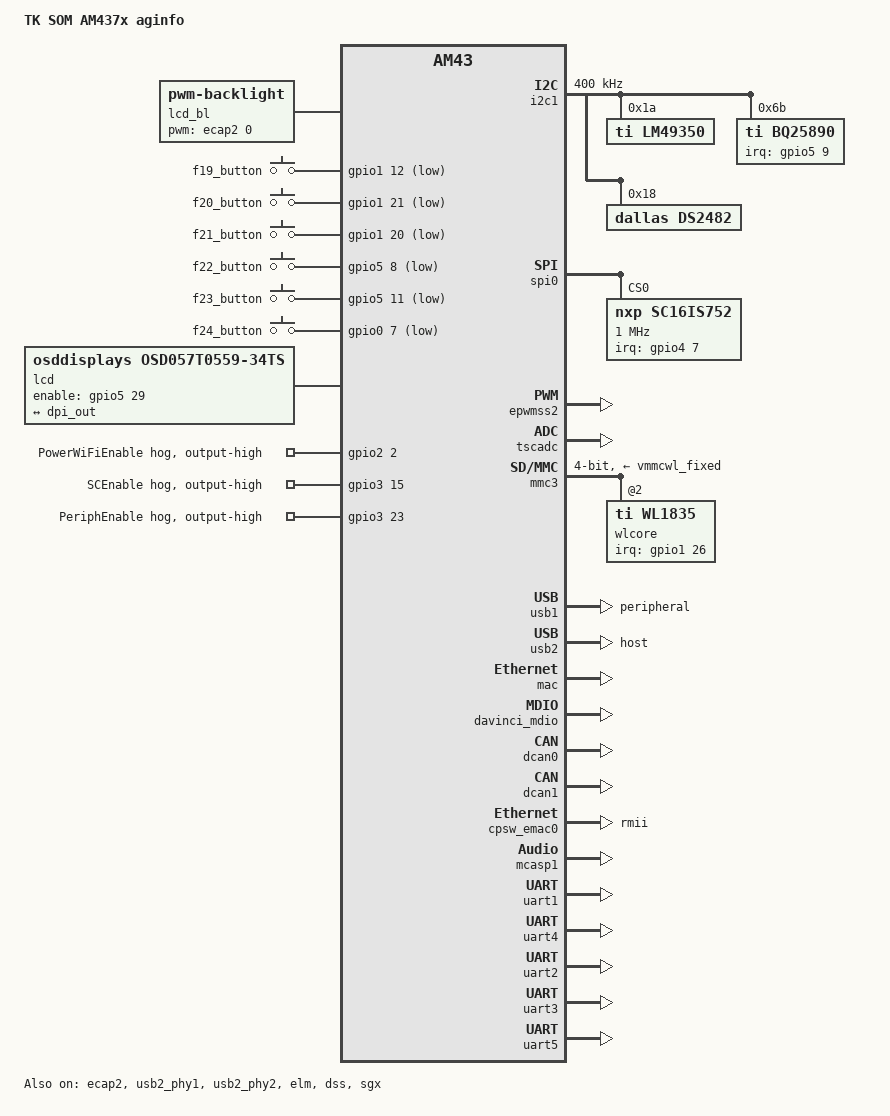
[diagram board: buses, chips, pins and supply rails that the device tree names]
/*
 * Copyright (C) 2013 Texas Instruments Incorporated - http://www.ti.com/
 *
 * This program is free software; you redistribute it and/or modify
 * it under the terms of the GNU General Public License version 2 as
 * published by the Free Software Foundation.
 */

/* AM437x GP EVM */

/dts-v1/;

#include "am4372.dtsi"
#include "tk-som-am43xx.dtsi"
#include <dt-bindings/pinctrl/am43xx.h>
#include <dt-bindings/pwm/pwm.h>
#include <dt-bindings/gpio/gpio.h>
#include <dt-bindings/input/input.h>

/ {

	model = "TK SOM AM437x aginfo";
	compatible = "technokom,aginfo","ti,am4378","ti,am43";

	aliases {
		display0 = &lcd0;
	};


	lcd_bl: backlight {
		compatible = "pwm-backlight";
		pwms = <&ecap2 0 50000 0>;
		brightness-levels = <0 10 20 30 40 50 60 70 80 90 100 124 155 186 217 255>;
		default-brightness-level = <15>;
	};

	gpio_keys: gpio_keys {
		compatible = "gpio-keys";
		pinctrl-names = "default";
		pinctrl-0 = <&gpio_keys_pins_default>;
		#address-cells = <1>;
		#size-cells = <0>;

		button@1 {
			label = "f19_button";
			linux,code = <KEY_1>;
			gpios = <&gpio1 12 GPIO_ACTIVE_LOW>;
		};

		button@2 {
			label = "f20_button";
			linux,code = <KEY_2>;
			gpios = <&gpio1 21 GPIO_ACTIVE_LOW>;
		};

		button@3 {
			label = "f21_button";
			linux,code = <KEY_3>;
			gpios = <&gpio1 20 GPIO_ACTIVE_LOW>;
		};

		button@4 {
			label = "f22_button";
			linux,code = <KEY_4>;
			gpios = <&gpio5 8 GPIO_ACTIVE_LOW>;
		};

		button@5 {
			label = "f23_button";
			linux,code = <KEY_5>;
			gpios = <&gpio5 11 GPIO_ACTIVE_LOW>;
		};

		button@6 {
			label = "f24_button";
			linux,code = <KEY_6>;
			gpios = <&gpio0 7 GPIO_ACTIVE_LOW>;
		};
	};

	lcd0: display {
		compatible = "osddisplays,osd057T0559-34ts", "panel-dpi";
		label = "lcd";
		
		pinctrl-names = "default";
		pinctrl-0 = <&dss_pin_enable>;
		enable-gpios = <&gpio5 29 GPIO_ACTIVE_HIGH>;

		panel-timing {
			clock-frequency = <33000000>;
			hactive = <800>;
			vactive = <480>;
			hfront-porch = <210>;
			hback-porch = <16>;
			hsync-len = <30>;
			vback-porch = <10>;
			vfront-porch = <22>;
			vsync-len = <13>;
			hsync-active = <0>;
			vsync-active = <0>;
			de-active = <1>;
			pixelclk-active = <1>;
		};

		port {
			lcd_in: endpoint {
				remote-endpoint = <&dpi_out>;
			};
		};
	};

	sound0: sound@0 {
		compatible = "simple-audio-card";
		simple-audio-card,name = "AM437x-TK";
		simple-audio-card,widgets =
			"Headphone", "Headphone Jack",
			"Line", "Line In",
			"Speaker", "Speaker";
		simple-audio-card,routing =
			"Headphone Jack", "HPLOUT",
			"Headphone Jack", "HPROUT",
			"LINE1L", "Line In",
			"LINE1R", "Line In",
			"Speaker", "SPL",
			"Speaker", "SPR";
		simple-audio-card,format = "dsp_b";
		simple-audio-card,bitclock-master = <&sound0_master>;
		simple-audio-card,frame-master = <&sound0_master>;
		simple-audio-card,bitclock-inversion;

		simple-audio-card,cpu {
			sound-dai = <&mcasp1>;
			system-clock-frequency = <12000000>;
		};

		sound0_master: simple-audio-card,codec {
			sound-dai = <&lm49350>;
			system-clock-frequency = <12000000>;
		};
	};

};

&am43xx_pinmux {
	pinctrl-names = "default", "sleep";
	pinctrl-0 = <&wlan_pins_default &clkout1_pin>;


	dcan0_default: dcan0_default_pins {
		pinctrl-single,pins = <
			AM4372_IOPAD(0x91c, PIN_OUTPUT | MUX_MODE1)		/* (C16) mii1_txd3.dcan0_tx */
			AM4372_IOPAD(0x920, PIN_INPUT_PULLUP | MUX_MODE1)	/* (C13) mii1_txd2.dcan0_rx */
		>;
	};

	dcan0_sleep: dcan0_sleep_pins {
		pinctrl-single,pins = <
			AM4372_IOPAD(0x91c, PIN_INPUT_PULLUP | MUX_MODE7)	/* (C16) mii1_txd3 */
			AM4372_IOPAD(0x920, PIN_INPUT_PULLUP | MUX_MODE7)	/* (C13) mii1_txd2 */
		>;
	};

	dcan1_default: dcan1_default_pins {
		pinctrl-single,pins = <
			AM4372_IOPAD(0x980, PIN_OUTPUT | MUX_MODE2)		/* uart1_rxd.d_can1_tx */
			AM4372_IOPAD(0x984, PIN_INPUT_PULLUP | MUX_MODE2)	/* uart1_txd.d_can1_rx */
		>;
	};

	dcan1_sleep: dcan1_sleep_pins {
		pinctrl-single,pins = <
			AM4372_IOPAD(0x980, PIN_INPUT_PULLUP | MUX_MODE7)	/* uart1_rxd.gpio0_14 */
			AM4372_IOPAD(0x984, PIN_INPUT_PULLUP | MUX_MODE7)	/* uart1_txd.gpio0_15 */
		>;
	};

    gpio_onewire_interrupt_pin: gpio_onewire_interrupt_pin {
		pinctrl-single,pins = <    
            AM4372_IOPAD(0xA34, PIN_INPUT_PULLUP | MUX_MODE7 ) /* (K24) uart3_rtsn.gpio5[1] */
        >;
    };


	gpio_keys_pins_default: gpio_keys_pins_default {
		pinctrl-single,pins = <
            AM4372_IOPAD(0x830, PIN_INPUT_PULLUP | MUX_MODE7 ) /* (E11) gpmc_ad12.gpio1[12] */
		    AM4372_IOPAD(0x850, PIN_INPUT_PULLUP | MUX_MODE7 ) /* (D7) gpmc_a4.gpio1[20] */
		    AM4372_IOPAD(0x854, PIN_INPUT_PULLUP | MUX_MODE7 ) /* (E7) gpmc_a5.gpio1[21] */
		    AM4372_IOPAD(0xa38, PIN_INPUT_PULLUP | MUX_MODE7 ) /* (D25) gpio5_8.gpio5[8] */
		    AM4372_IOPAD(0xa44, PIN_INPUT_PULLUP | MUX_MODE7 ) /* (F23) gpio5_11.gpio5[11] */
			AM4372_IOPAD(0x964, PIN_INPUT_PULLUP | MUX_MODE7 ) /* (G24) eCAP0_in_PWM0_out.gpio0[7] */
		>;
	};

    gpio0_input_pins_default: pinmux_gpio0_input_pins_default {
		pinctrl-single,pins = <
            AM4372_IOPAD(0x960, PIN_INPUT | MUX_MODE7 ) /* (B23) dss_vsync.gpio2[22] */

		>;
    };

    gpio2_input_pins_default: pinmux_gpio2_input_pins_default {
		pinctrl-single,pins = <
            AM4372_IOPAD(0x8e0, PIN_INPUT | MUX_MODE7 ) /* (B23) dss_vsync.gpio2[22] */
		    AM4372_IOPAD(0x8e4, PIN_INPUT | MUX_MODE7 ) /* (A23) dss_hsync.gpio2[23] */
		>;
    };


    gpio4_input_pins_default: pinmux_gpio4_input_pins_default {
		pinctrl-single,pins = <
            AM4372_IOPAD(0x9d4, PIN_INPUT | MUX_MODE7 ) /* (AD25) cam1_hd.gpio4[9] */
		    AM4372_IOPAD(0x9d8, PIN_INPUT | MUX_MODE7 ) /* (AC23) cam1_vd.gpio4[10] */
		>;
    };

    gpio4_input_tangenta_default: pinmux_gpio4_input_tangenta_default {
        pinctrl-single,pins = <
            AM4372_IOPAD(0x9d0, PIN_INPUT | MUX_MODE7 ) /* (AD25) cam1_hd.gpio4[8] */
        >;
    };

    gpio0_output_pins_default: pinmux_gpio0_output_pins_default {
		pinctrl-single,pins = <
            AM4372_IOPAD(0xa78, PIN_OUTPUT_PULLDOWN | MUX_MODE7 ) /* (H20) clkreq.gpio0[24] */
		>;
    };


    gpio3_output_pins_default: pinmux_gpio3_output_pins_default {
		pinctrl-single,pins = <
            AM4372_IOPAD(0x998, PIN_OUTPUT_PULLDOWN | MUX_MODE7 ) /* (H23) mcasp0_axr0.gpio3[16] */
		>;
    };


    gpio5_output_pins_default: pinmux_gpio5_output_pins_default {
		pinctrl-single,pins = <
    	    AM4372_IOPAD(0xa30, PIN_OUTPUT_PULLDOWN | MUX_MODE7 ) /* (H22) uart3_ctsn.gpio5[0] */
		    AM4372_IOPAD(0xa28, PIN_OUTPUT_PULLDOWN | MUX_MODE7 ) /* (H25) uart3_rxd.gpio5[2] */
			AM4372_IOPAD(0xa2c, PIN_OUTPUT_PULLDOWN | MUX_MODE7 ) /* (H24) uart3_txd.gpio5[3] */
			AM4372_IOPAD(0xa4c, PIN_OUTPUT_PULLDOWN | MUX_MODE7 ) /* (E24) gpio5_13.gpio5[13] */
		>;
    };


	i2c1_pins_default: i2c1_pins_default {
		pinctrl-single,pins = <
			AM4372_IOPAD(0xa40, PIN_INPUT_PULLUP | SLEWCTRL_FAST | MUX_MODE1)  /* (G20) gpio5_10.I2C1_SCL */
			AM4372_IOPAD(0xa48, PIN_INPUT_PULLUP | SLEWCTRL_FAST | MUX_MODE1)  /* (E25) gpio5_12.I2C1_SDA */
            AM4372_IOPAD(0xa3c, PIN_INPUT_PULLUP | MUX_MODE7 ) /* (F24) gpio5_9.gpio5[9]  pin interrup bq25892*/
		>;
	};

	mmc2_pins: pinmux_mmc2_pins {
		pinctrl-single,pins = <
			AM4372_IOPAD(0x88c, PIN_INPUT_PULLUP | MUX_MODE3 ) /* (A12) gpmc_clk.mmc2_clk */
			AM4372_IOPAD(0x888, PIN_INPUT_PULLUP | MUX_MODE3 ) /* (B12) gpmc_csn3.mmc2_cmd */
			AM4372_IOPAD(0x844, PIN_INPUT_PULLUP | MUX_MODE3 ) /* (C5) gpmc_a1.mmc2_dat0 */
			AM4372_IOPAD(0x848, PIN_INPUT_PULLUP | MUX_MODE3 ) /* (C6) gpmc_a2.mmc2_dat1 */
			AM4372_IOPAD(0x84c, PIN_INPUT_PULLUP | MUX_MODE3 ) /* (A4) gpmc_a3.mmc2_dat2 */
			AM4372_IOPAD(0x878, PIN_INPUT_PULLUP | MUX_MODE3 ) /* (A3) gpmc_be1n.mmc2_dat3 */
		>;
	};

	mmc2_sleep_pins: pinmux_mmc2_sleep_pins {
		pinctrl-single,pins = <
			AM4372_IOPAD(0x88c, PIN_INPUT_PULLDOWN | MUX_MODE7) /* (A12) gpmc_clk.mmc2_clk */
			AM4372_IOPAD(0x888, PIN_INPUT_PULLDOWN | MUX_MODE7) /* (B12) gpmc_csn3.mmc2_cmd */
			AM4372_IOPAD(0x844, PIN_INPUT_PULLDOWN | MUX_MODE7) /* (C5) gpmc_a1.mmc2_dat0 */
			AM4372_IOPAD(0x848, PIN_INPUT_PULLDOWN | MUX_MODE7) /* (C6) gpmc_a2.mmc2_dat1 */
			AM4372_IOPAD(0x84c, PIN_INPUT_PULLDOWN | MUX_MODE7) /* (A4) gpmc_a3.mmc2_dat2 */
			AM4372_IOPAD(0x878, PIN_INPUT_PULLDOWN | MUX_MODE7) /* (A3) gpmc_be1n.mmc2_dat3 */
		>;
	};

	ecap2_pins_default: backlight_pins_default {
		pinctrl-single,pins = <
			AM4372_IOPAD(0x99c, PIN_OUTPUT_PULLUP | MUX_MODE4)       /* eCAP2_in_PWM2_out MODE4 */
		>;
	};

	ecap2_pins_sleep: backlight_pins_sleep {
		pinctrl-single,pins = <
			AM4372_IOPAD(0x99c, MUX_MODE7)
		>;
	};


	cpsw_default: cpsw_default {
		pinctrl-single,pins = <
			AM4372_IOPAD(0x90c, PIN_INPUT_PULLUP | MUX_MODE1 ) /* (B14) mii1_crs.rmii1_crs_dv */
			AM4372_IOPAD(0x910, PIN_INPUT_PULLUP | MUX_MODE1 ) /* (B13) mii1_rx_er.rmii1_rxer */
			AM4372_IOPAD(0x914, PIN_OUTPUT_PULLDOWN | MUX_MODE1 ) /* (A13) mii1_tx_en.rmii1_txen */
			AM4372_IOPAD(0x928, PIN_OUTPUT_PULLDOWN | MUX_MODE1 ) /* (B15) mii1_txd0.rmii1_txd0 */
			AM4372_IOPAD(0x924, PIN_OUTPUT_PULLDOWN | MUX_MODE1 ) /* (A14) mii1_txd1.rmii1_txd1 */
			AM4372_IOPAD(0x940, PIN_INPUT | MUX_MODE1 ) /* (F17) mii1_rxd0.rmii1_rxd0 */
			AM4372_IOPAD(0x93c, PIN_INPUT | MUX_MODE1 ) /* (B16) mii1_rxd1.rmii1_rxd1 */
			AM4372_IOPAD(0x944, PIN_INPUT_PULLUP | MUX_MODE0 ) /* (A16) rmii1_ref_clk.rmii1_refclk */

		>;
	};

	cpsw_sleep: cpsw_sleep {
		pinctrl-single,pins = <
			AM4372_IOPAD(0x90c, PIN_INPUT_PULLDOWN | MUX_MODE7 )
			AM4372_IOPAD(0x910, PIN_INPUT_PULLDOWN | MUX_MODE7 )
			AM4372_IOPAD(0x914, PIN_INPUT_PULLDOWN | MUX_MODE7 )
			AM4372_IOPAD(0x928, PIN_INPUT_PULLDOWN | MUX_MODE7 )
			AM4372_IOPAD(0x924, PIN_INPUT_PULLDOWN | MUX_MODE7 )
			AM4372_IOPAD(0x940, PIN_INPUT_PULLDOWN | MUX_MODE7 )
			AM4372_IOPAD(0x93c, PIN_INPUT_PULLDOWN | MUX_MODE7 )
			AM4372_IOPAD(0x944, PIN_INPUT_PULLDOWN | MUX_MODE7 )
		>;
	};

	davinci_mdio_default: davinci_mdio_default {
		pinctrl-single,pins = <
			/* MDIO */
			AM4372_IOPAD(0x948, PIN_INPUT_PULLUP | SLEWCTRL_FAST | MUX_MODE0)	/* mdio_data.mdio_data */
			AM4372_IOPAD(0x94c, PIN_OUTPUT_PULLUP | MUX_MODE0)			/* mdio_clk.mdio_clk */
		>;
	};

	davinci_mdio_sleep: davinci_mdio_sleep {
		pinctrl-single,pins = <
			/* MDIO reset value */
			AM4372_IOPAD(0x948, PIN_INPUT | PULL_DISABLE | MUX_MODE7)
			AM4372_IOPAD(0x94c, PIN_INPUT | PULL_DISABLE | MUX_MODE7)
		>;
	};



	dss_pins: dss_pins {
		pinctrl-single,pins = <
			AM4372_IOPAD(0x8a0, PIN_OUTPUT_PULLDOWN | MUX_MODE7)
			AM4372_IOPAD(0x8a4, PIN_OUTPUT_PULLUP | MUX_MODE0)
			AM4372_IOPAD(0x8a8, PIN_OUTPUT_PULLUP | MUX_MODE0)
			AM4372_IOPAD(0x8ac, PIN_OUTPUT_PULLUP | MUX_MODE0)
			AM4372_IOPAD(0x8b0, PIN_OUTPUT_PULLUP | MUX_MODE0)
			AM4372_IOPAD(0x8b4, PIN_OUTPUT_PULLUP | MUX_MODE0)
			AM4372_IOPAD(0x8b8, PIN_OUTPUT_PULLUP | MUX_MODE0)
			AM4372_IOPAD(0x8bc, PIN_OUTPUT_PULLUP | MUX_MODE0)
			AM4372_IOPAD(0x8c0, PIN_OUTPUT_PULLUP | MUX_MODE0)
			AM4372_IOPAD(0x8c4, PIN_OUTPUT_PULLUP | MUX_MODE0)
			AM4372_IOPAD(0x8c8, PIN_OUTPUT_PULLUP | MUX_MODE0)
			AM4372_IOPAD(0x8cc, PIN_OUTPUT_PULLUP | MUX_MODE0)
			AM4372_IOPAD(0x8d0, PIN_OUTPUT_PULLUP | MUX_MODE0)
			AM4372_IOPAD(0x8d4, PIN_OUTPUT_PULLUP | MUX_MODE0)
			AM4372_IOPAD(0x8d8, PIN_OUTPUT_PULLUP | MUX_MODE0)
			AM4372_IOPAD(0x8dc, PIN_OUTPUT_PULLUP | MUX_MODE0)
			AM4372_IOPAD(0x8e8, PIN_OUTPUT_PULLUP | MUX_MODE0)
			AM4372_IOPAD(0x8ec, PIN_OUTPUT_PULLUP | MUX_MODE0)
			AM4372_IOPAD(0x83c, PIN_OUTPUT_PULLUP | MUX_MODE1)
			AM4372_IOPAD(0x838, PIN_OUTPUT_PULLUP | MUX_MODE1)

		>;
	};

	
	dss_pin_enable: dss_pin_enable {
		pinctrl-single,pins = <
			AM4372_IOPAD(0xa74, PIN_OUTPUT_PULLUP | MUX_MODE9)

		>;
	};


	uart1_pins: uart1_pins {
		pinctrl-single,pins = <
			AM4372_IOPAD(0x9e8, PIN_INPUT_PULLUP | MUX_MODE1 ) /* (AB20) cam1_data0.uart1_rxd */
			AM4372_IOPAD(0x9ec, PIN_OUTPUT_PULLDOWN | MUX_MODE1 ) /* (AC21) cam1_data1.uart1_txd */
		>;
	};

    uart2_pins: uart2_pins {
        pinctrl-single,pins = <
		    AM4372_IOPAD(0x92c, PIN_INPUT_PULLUP | MUX_MODE1 ) /* (D14) mii1_tx_clk.uart2_rxd */
    		AM4372_IOPAD(0x930, PIN_OUTPUT_PULLDOWN | MUX_MODE1 ) /* (D13) mii1_rx_clk.uart2_txd */
    		AM4372_IOPAD(0x860,  PIN_OUTPUT_PULLDOWN | MUX_MODE7 ) /* (F7) gpmc_a8.gpio1[24] */
	    >;
    };

    uart3_pins: uart3_pins {
        pinctrl-single,pins = <
            AM4372_IOPAD(0x934, PIN_INPUT_PULLUP | MUX_MODE1 ) /* (C14) mii1_rxd3.uart3_rxd */
    		AM4372_IOPAD(0x938, PIN_OUTPUT_PULLDOWN | MUX_MODE1 ) /* (E16) mii1_rxd2.uart3_txd */
            AM4372_IOPAD(0x834,  PIN_OUTPUT_PULLDOWN | MUX_MODE7 ) /* (C11) gpmc_ad13.gpio1[13] */
	    >;
    };

    uart5_pins: uart5_pins {
        pinctrl-single,pins = <
    		AM4372_IOPAD(0x908, PIN_INPUT_PULLUP | MUX_MODE3 ) /* (D16) mii1_col.uart5_rxd */
    		AM4372_IOPAD(0x918, PIN_OUTPUT_PULLDOWN | MUX_MODE3 ) /* (A15) mii1_rx_dv.uart5_txd */
            AM4372_IOPAD(0x86c,  PIN_OUTPUT_PULLDOWN | MUX_MODE7 ) /* (D8) gpmc_a11.gpio1[27] */
	    >;
    };

	modem_pin_usb_enable: modem_pin_usb_enable {
		pinctrl-single,pins = <
	        AM4372_IOPAD(0x898, PIN_OUTPUT | MUX_MODE7 ) /* (D10) gpmc_wen.gpio2[4] */
		>;
	};

	periph_pin_enable: periph_pin_enable {
		pinctrl-single,pins = <
	        AM4372_IOPAD(0xA68, PIN_OUTPUT | MUX_MODE7 )  /* (P20) spi2_d1.gpio3[23] */
		>;
	};

	modem_pin_enable: modem_pin_enable {
		pinctrl-single,pins = <
			AM4372_IOPAD(0x9dc, PIN_OUTPUT | MUX_MODE7 ) /* (AE21) cam1_pclk.gpio4[11] */
		>;
	};

	sim_pin_change: sim_pin_change {
		pinctrl-single,pins = <
			AM4372_IOPAD(0xa6c, PIN_OUTPUT | MUX_MODE7 ) 
		>;
	};

	wlan_pins_default: pinmux_wlan_pins_default {
		pinctrl-single,pins = <
			AM4372_IOPAD(0x868, PIN_INPUT  | WAKEUP_ENABLE | MUX_MODE7 ) /* (G8) gpmc_a10.gpio1[26] */
			AM4372_IOPAD(0x858, PIN_OUTPUT | MUX_MODE7 ) /* (E8) gpmc_a6.gpio1[22] */
			AM4372_IOPAD(0x85c, PIN_OUTPUT | MUX_MODE7 ) /* (F6) gpmc_a7.gpio1[23] */
			AM4372_IOPAD(0x890, PIN_OUTPUT | MUX_MODE7 ) /* (A9) gpmc_advn_ale.gpio2[2] power wifi enable*/
		>;
	};

	uart4_pins: uart4_pins {
		pinctrl-single,pins = <
			AM4372_IOPAD(0x968, PIN_INPUT_PULLUP | MUX_MODE1 )
			AM4372_IOPAD(0x96c, PIN_OUTPUT_PULLDOWN | MUX_MODE1 )
		>;
	};
	

	mcasp1_pins: mcasp1_pins {
		pinctrl-single,pins = <
			AM4372_IOPAD(0x9ac, PIN_INPUT_PULLDOWN | MUX_MODE3)
			AM4372_IOPAD(0x9a0, PIN_INPUT_PULLDOWN | MUX_MODE3)
			AM4372_IOPAD(0x9a4, PIN_INPUT_PULLDOWN | MUX_MODE3)
			AM4372_IOPAD(0x9a8, PIN_OUTPUT_PULLDOWN | MUX_MODE3)

		>;
	};

	mcasp1_sleep_pins: mcasp1_sleep_pins {
		pinctrl-single,pins = <
			AM4372_IOPAD(0x9ac, PIN_INPUT_PULLDOWN | MUX_MODE7)
			AM4372_IOPAD(0x9a0, PIN_INPUT_PULLDOWN | MUX_MODE7)
			AM4372_IOPAD(0x9a4, PIN_INPUT_PULLDOWN | MUX_MODE7)
			AM4372_IOPAD(0x9a8, PIN_INPUT_PULLDOWN | MUX_MODE7)
		>;
	};

	clkout1_pin: pinmux_clkout1_pin {
		pinctrl-single,pins = <
			AM4372_IOPAD(0xa70, PIN_OUTPUT_PULLDOWN | MUX_MODE3)	/* XDMA_EVENT_INTR0/CLKOUT1 */
		>;
	};

	spi0_pins: pinmux_spi0_pins {
		pinctrl-single,pins = <
			AM4372_IOPAD(0x950, PIN_OUTPUT | MUX_MODE0)           /* spi0_clk.spi0_clk */
			AM4372_IOPAD(0x954, PIN_INPUT | MUX_MODE0)           /* spi0_d0.spi0_d0 */
			AM4372_IOPAD(0x958, PIN_INPUT | MUX_MODE0)           /* spi0_d1.spi0_d1 */
			AM4372_IOPAD(0x95c, PIN_OUTPUT | MUX_MODE0)          /* spi0_cs0.spi0_cs0 */
			AM4372_IOPAD(0x9cc, PIN_INPUT | MUX_MODE7)
			AM4372_IOPAD(0x994, PIN_OUTPUT | MUX_MODE7) 
		>;
	};

};

&i2c1 {
	status = "okay";
	pinctrl-names = "default", "sleep";
	pinctrl-0 = <&i2c1_pins_default &gpio_onewire_interrupt_pin>;
	clock-frequency = <400000>;


	lm49350: lm49350@1a {
		#sound-dai-cells = <0>;
		compatible = "ti,lm49350";
		reg = <0x1a>;
		status = "okay";
		/*
        power-amp-gpios = <&gpio5 3 GPIO_ACTIVE_HIGH>;
		sd-amp-gpios    = <&gpio5 13 GPIO_ACTIVE_HIGH>;
        */
	};
    bq25890: bq25890@6b {
        compatible = "ti,bq25890";
        reg = <0x6b>;
		interrupt-parent = <&gpio5>;
		interrupts = <9 IRQ_TYPE_LEVEL_HIGH>;
        ti,battery-regulation-voltage = <4200000>;
        ti,charge-current = <500000>;
        ti,termination-current = <50000>;
        ti,precharge-current = <128000>;
        ti,minimum-sys-voltage = <3600000>;
        ti,boost-voltage = <5000000>;
        ti,boost-max-current = <1000000>;
        ti,thermal-regulation-threshold = <120>;
		system-power-controller;
    };

    ds2482: ds2482@18 {
        compatible = "dallas,ds2482";
        reg = <0x18>;
		status = "okay";
    };
};

&spi0 {
	pinctrl-names = "default";
	pinctrl-0 = <&spi0_pins>;
	status = "okay";
	ti,spi-num-cs = <1>;
	ti,pindir-d0-out-d1-in;
	
	sc16is752: sc16is752@0 {
		compatible = "nxp,sc16is752";
		reg = <0>;
		spi-max-frequency = <1000000>;
		clocks = <&sc_mstrclk>;
		interrupt-parent = <&gpio4>;
		interrupts = <7 IRQ_TYPE_EDGE_FALLING>;
		gpio-controller;
		#gpio-cells = <2>;
	};
};

&epwmss2	 {
	status = "okay";
};

&tscadc {
	status = "okay";

	tsc {
		ti,wires = <4>;
		ti,x-plate-resistance = <760>;
		ti,coordinate-readouts = <5>;
		ti,wire-config = <0x00 0x11 0x22 0x33>;
		ti,charge-delay = <0x400>;
	};

	adc {
		ti,adc-channels = <4 5 6 7>;
	};
};

&ecap2 {
	status = "okay";
	pinctrl-names = "default";
	pinctrl-0 = <&ecap2_pins_default>;
};

&gpio0 {
	status = "okay";
	pinctrl-0 = <&gpio0_output_pins_default &gpio0_input_pins_default>;
};

&gpio1 {
	status = "okay";
};

&gpio2 {
	status = "okay";
	pinctrl-0 = <&modem_pin_usb_enable &gpio2_input_pins_default>;
	p2 {
		gpio-hog;
		gpios = <2 GPIO_ACTIVE_HIGH>;
		output-high;
		line-name = "PowerWiFiEnable";
	};

};

&gpio3 {
	status = "okay";
	pinctrl-0 = <&sim_pin_change &gpio3_output_pins_default &periph_pin_enable>;
    ti,gpio-always-on;
    ti,no-reset-on-init;

	p15 {
		gpio-hog;
		gpios = <15 GPIO_ACTIVE_HIGH>;
		output-high;
		line-name = "SCEnable";
	};

	p23 {
		gpio-hog;
		gpios = <23 GPIO_ACTIVE_HIGH>;
		output-high;
		line-name = "PeriphEnable";
	};

};

&gpio4 {
	status = "okay";
	pinctrl-0 = <&modem_pin_enable &gpio4_input_pins_default &gpio4_input_tangenta_default>;
};

&gpio5 {
	status = "okay";
	pinctrl-0 = <&gpio5_output_pins_default>;
};

&mmc3 {
	status = "okay";
	dmas = <&edma_xbar 30 0 1>,
		<&edma_xbar 31 0 2>;
	dma-names = "tx", "rx";
	vmmc-supply = <&vmmcwl_fixed>;

	bus-width = <4>;
	pinctrl-names = "default", "sleep";
	pinctrl-0 = <&mmc2_pins>;
	pinctrl-1 = <&mmc2_sleep_pins>;
	cap-power-off-card;
	keep-power-in-suspend;
	#address-cells = <1>;
	#size-cells = <0>;

	wlcore: wlcore@0 {
		compatible = "ti,wl1835";
		reg = <2>;
		interrupt-parent = <&gpio1>;
		interrupts = <26 IRQ_TYPE_LEVEL_HIGH>;
	};
};

&usb2_phy1 {
	status = "okay";
};

&usb1 {
	dr_mode = "peripheral";
	status = "okay";
};

&usb2_phy2 {
	status = "okay";
};

&usb2 {
	dr_mode = "host";
	status = "okay";
};

&mac {
	slaves = <1>;
	pinctrl-names = "default", "sleep";
	pinctrl-0 = <&cpsw_default>;
	pinctrl-1 = <&cpsw_sleep>;
	status = "okay";
};

&davinci_mdio {
	pinctrl-names = "default", "sleep";
	pinctrl-0 = <&davinci_mdio_default>;
	pinctrl-1 = <&davinci_mdio_sleep>;
	status = "okay";
};

&dcan0 {
	pinctrl-names = "default", "sleep";
	pinctrl-0 = <&dcan0_default>;
	pinctrl-1 = <&dcan0_sleep>;
	status = "okay";
};

&dcan1 {
	pinctrl-names = "default", "sleep";
	pinctrl-0 = <&dcan1_default>;
	pinctrl-1 = <&dcan1_sleep>;
	status = "okay";
};

&cpsw_emac0 {
	phy_id = <&davinci_mdio>, <7>;
	phy-mode = "rmii";
};

&phy_sel {
	rmii-clock-ext;
};

&elm {
	status = "okay";
};

&mcasp1 {
	#sound-dai-cells = <0>;
	pinctrl-names = "default", "sleep";
	pinctrl-0 = <&mcasp1_pins>;
	pinctrl-1 = <&mcasp1_sleep_pins>;

	status = "okay";

	op-mode = <0>; /* MCASP_IIS_MODE */
	tdm-slots = <2>;
	/* 4 serializers */
	serial-dir = <  /* 0: INACTIVE, 1: TX, 2: RX */
		1 2 0 0
	>;
	tx-num-evt = <32>;
	rx-num-evt = <32>;
};

&uart1 {
	status = "okay";
	pinctrl-names = "default";
	pinctrl-0 = <&uart1_pins>;
};

&uart4 {
	status = "okay";
	pinctrl-names = "default";
	pinctrl-0 = <&uart4_pins>;
};

&uart2 {
    compatible = "ti,omap4-uart";
	status = "okay";
	pinctrl-names = "default";
	pinctrl-0 = <&uart2_pins>;
    rts-gpio = <&gpio1 24 GPIO_ACTIVE_HIGH>;
    rs485-rts-active-high;
    rs485-rts-delay = <0 0>;
    linux,rs485-enabled-at-boot-time;
};

&uart3 {
    compatible = "ti,omap4-uart";
	status = "okay";
	pinctrl-names = "default";
	pinctrl-0 = <&uart3_pins>;
    rts-gpio = <&gpio1 13 GPIO_ACTIVE_HIGH>;
    rs485-rts-active-high;
    rs485-rts-delay = <0 0>;
    linux,rs485-enabled-at-boot-time;
};

&uart5 {
    compatible = "ti,omap4-uart";
	status = "okay";
	pinctrl-names = "default";
	pinctrl-0 = <&uart5_pins>;
    rts-gpio = <&gpio1 27 GPIO_ACTIVE_HIGH>;
    rs485-rts-active-high;
    rs485-rts-delay = <0 0>;
    linux,rs485-enabled-at-boot-time;
};

&dss {
	status = "okay";

	pinctrl-names = "default";
	pinctrl-0 = <&dss_pins>;

	port {
		dpi_out: endpoint@0 {
			remote-endpoint = <&lcd_in>;
			data-lines = <18>;
		};
	};
};


&rtc {
	clocks = <&clk_32k_rtc>, <&clk_32768_ck>;
	clock-names = "ext-clk", "int-clk";
	status = "disable";
};

&sgx {
	status = "okay";
};
